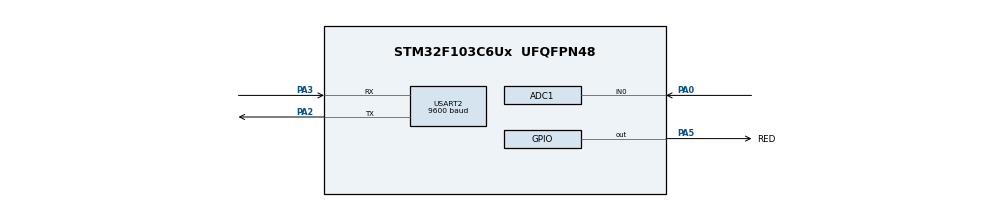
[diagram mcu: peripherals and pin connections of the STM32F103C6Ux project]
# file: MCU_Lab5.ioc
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ADC1.Channel-0\#ChannelRegularConversion=ADC_CHANNEL_0
ADC1.ContinuousConvMode=ENABLE
ADC1.NbrOfConversionFlag=1
ADC1.Rank-0\#ChannelRegularConversion=1
ADC1.SamplingTime-0\#ChannelRegularConversion=ADC_SAMPLETIME_1CYCLE_5
ADC1.master=1
Mcu.Family=STM32F1
Mcu.Name=STM32F103C6Ux
Mcu.Package=UFQFPN48
NVIC.PriorityGroup=NVIC_PRIORITYGROUP_4
NVIC.TIM2_IRQn=true\:0\:0\:false\:false\:true\:true\:true
NVIC.USART2_IRQn=true\:0\:0\:false\:false\:true\:true\:true
PA0-WKUP.Signal=ADCx_IN0
PA2.Mode=Asynchronous
PA2.Signal=USART2_TX
PA3.Mode=Asynchronous
PA3.Signal=USART2_RX
PA5.GPIO_Label=RED
PA5.Signal=GPIO_Output
ProjectManager.HeapSize=0x200
ProjectManager.StackSize=0x400
ProjectManager.TargetToolchain=STM32CubeIDE
RCC.APB1Freq_Value=8000000
RCC.APB2Freq_Value=8000000
SH.ADCx_IN0.0=ADC1_IN0,IN0
TIM2.Period=9
TIM2.Prescaler=7999
USART2.BaudRate=9600
USART2.VirtualMode=VM_ASYNC
VP_SYS_VS_ND.Mode=No_Debug
VP_TIM2_VS_ClockSourceINT.Mode=Internal
board=custom

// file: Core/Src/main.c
/* USER CODE BEGIN Header */
/**
  ******************************************************************************
  * @file           : main.c
  * @brief          : Main program body
  ******************************************************************************
  * @attention
  *
  * <h2><center>&copy; Copyright (c) 2022 STMicroelectronics.
  * All rights reserved.</center></h2>
  *
  * This software component is licensed by ST under BSD 3-Clause license,
  * the "License"; You may not use this file except in compliance with the
  * License. You may obtain a copy of the License at:
  *                        opensource.org/licenses/BSD-3-Clause
  *
  ******************************************************************************
  */
/* USER CODE END Header */
#include "main.h"

/* USER CODE BEGIN Includes */
#include "timer.h"
/* USER CODE END Includes */

ADC_HandleTypeDef hadc1;

TIM_HandleTypeDef htim2;

UART_HandleTypeDef huart2;

void SystemClock_Config(void);
static void MX_GPIO_Init(void);
static void MX_ADC1_Init(void);
static void MX_USART2_UART_Init(void);
static void MX_TIM2_Init(void);

/* USER CODE BEGIN 0 */
#define RST_COMMAND			21
#define OK_COMMAND			22
#define WAIT_MODE			23
# define MAX_BUFFER_SIZE 30

uint8_t temp = 0;
uint8_t buffer[MAX_BUFFER_SIZE];
uint8_t index_buffer = 0;
uint8_t buffer_flag = 0;
uint32_t ADC_value = 0;
int command_flag = 0;
int command_data = 0;
uint8_t RST_command[5] = "!RST#";
uint8_t OK_command[4] = "!OK#";

char str[50];
void HAL_UART_RxCpltCallback(UART_HandleTypeDef *huart){
	if(huart->Instance == USART2){
		//HAL_UART_Transmit(&huart2, &temp, 1, 50);
		buffer[index_buffer++] = temp;
		if (index_buffer == MAX_BUFFER_SIZE)
			index_buffer = 0;
		buffer_flag = 1;
		HAL_UART_Receive_IT(&huart2, &temp, 1);
	}
}

void check_command(){
	switch (command_data) {
		case 4:
			for (int i = 0; i < 4; ++i) {
				if (buffer[i] != OK_command[i])
					return;
			}
			command_flag = OK_COMMAND;
			break;
		case 5:
			for (int i = 0; i < 5; ++i) {
				if (buffer[i] != RST_command[i])
					return;
			}
			command_flag = RST_COMMAND;
			break;
		default:
			break;
	}
}

void command_parser_fsm(){
	switch (temp) {
		case 13:
			check_command();
			command_data = 0;
			index_buffer = 0;
			break;
		case 8:
			if (command_data > 0)
				command_data--;
			if (command_data < 5 && command_data >= 0)
				index_buffer = command_data;
			break;
		default:
			command_data++;
			break;
	}
}

void uart_communiation_fsm(){
	switch (command_flag) {
		case RST_COMMAND:
			HAL_ADC_Start(&hadc1);
			ADC_value =  HAL_ADC_GetValue(&hadc1);
			HAL_UART_Transmit(&huart2, (void *)str, sprintf(str, "!ADC=%ld#\r\n", ADC_value), 1000);
			setTimer0(3000);
			command_flag = WAIT_MODE;
			break;
		case OK_COMMAND:
			break;
		case WAIT_MODE:
			if (timer0_flag == 1){
				HAL_UART_Transmit(&huart2, (void *)str, sprintf(str, "!ADC=%ld#\r\n", ADC_value), 1000);
				setTimer0(3000);
			}
			break;
		default:
			break;
	}

}
/* USER CODE END 0 */

int main(void)
{

  /* MCU Configuration--------------------------------------------------------*/

  /* Reset of all peripherals, Initializes the Flash interface and the Systick. */
  HAL_Init();

  /* Configure the system clock */
  SystemClock_Config();

  /* USER CODE BEGIN SysInit */
  HAL_TIM_Base_Start_IT (& htim2 );

  /* USER CODE END SysInit */

  /* Initialize all configured peripherals */
  MX_GPIO_Init();
  MX_ADC1_Init();
  MX_USART2_UART_Init();
  MX_TIM2_Init();
  /* USER CODE BEGIN 2 */
  HAL_UART_Receive_IT(&huart2, &temp, 1);

  /* USER CODE END 2 */

  /* Infinite loop */
  /* USER CODE BEGIN WHILE */
  while (1)
  {
	  if (buffer_flag == 1){
	  		  command_parser_fsm();
	  		  buffer_flag = 0;
	  		  HAL_GPIO_TogglePin(RED_GPIO_Port, RED_Pin);
	  	  }
	  	  uart_communiation_fsm();
    /* USER CODE END WHILE */

  }
}

void SystemClock_Config(void)
{
  RCC_OscInitTypeDef RCC_OscInitStruct = {0};
  RCC_ClkInitTypeDef RCC_ClkInitStruct = {0};
  RCC_PeriphCLKInitTypeDef PeriphClkInit = {0};

  /** Initializes the RCC Oscillators according to the specified parameters
  * in the RCC_OscInitTypeDef structure.
  */
  RCC_OscInitStruct.OscillatorType = RCC_OSCILLATORTYPE_HSI;
  RCC_OscInitStruct.HSIState = RCC_HSI_ON;
  RCC_OscInitStruct.HSICalibrationValue = RCC_HSICALIBRATION_DEFAULT;
  RCC_OscInitStruct.PLL.PLLState = RCC_PLL_NONE;
  if (HAL_RCC_OscConfig(&RCC_OscInitStruct) != HAL_OK)
  {
    Error_Handler();
  }
  /** Initializes the CPU, AHB and APB buses clocks
  */
  RCC_ClkInitStruct.ClockType = RCC_CLOCKTYPE_HCLK|RCC_CLOCKTYPE_SYSCLK
                              |RCC_CLOCKTYPE_PCLK1|RCC_CLOCKTYPE_PCLK2;
  RCC_ClkInitStruct.SYSCLKSource = RCC_SYSCLKSOURCE_HSI;
  RCC_ClkInitStruct.AHBCLKDivider = RCC_SYSCLK_DIV1;
  RCC_ClkInitStruct.APB1CLKDivider = RCC_HCLK_DIV1;
  RCC_ClkInitStruct.APB2CLKDivider = RCC_HCLK_DIV1;

  if (HAL_RCC_ClockConfig(&RCC_ClkInitStruct, FLASH_LATENCY_0) != HAL_OK)
  {
    Error_Handler();
  }
  PeriphClkInit.PeriphClockSelection = RCC_PERIPHCLK_ADC;
  PeriphClkInit.AdcClockSelection = RCC_ADCPCLK2_DIV2;
  if (HAL_RCCEx_PeriphCLKConfig(&PeriphClkInit) != HAL_OK)
  {
    Error_Handler();
  }
}

static void MX_ADC1_Init(void)
{

  ADC_ChannelConfTypeDef sConfig = {0};

  /** Common config
  */
  hadc1.Instance = ADC1;
  hadc1.Init.ScanConvMode = ADC_SCAN_DISABLE;
  hadc1.Init.ContinuousConvMode = ENABLE;
  hadc1.Init.DiscontinuousConvMode = DISABLE;
  hadc1.Init.ExternalTrigConv = ADC_SOFTWARE_START;
  hadc1.Init.DataAlign = ADC_DATAALIGN_RIGHT;
  hadc1.Init.NbrOfConversion = 1;
  if (HAL_ADC_Init(&hadc1) != HAL_OK)
  {
    Error_Handler();
  }
  /** Configure Regular Channel
  */
  sConfig.Channel = ADC_CHANNEL_0;
  sConfig.Rank = ADC_REGULAR_RANK_1;
  sConfig.SamplingTime = ADC_SAMPLETIME_1CYCLE_5;
  if (HAL_ADC_ConfigChannel(&hadc1, &sConfig) != HAL_OK)
  {
    Error_Handler();
  }

}

static void MX_TIM2_Init(void)
{

  TIM_ClockConfigTypeDef sClockSourceConfig = {0};
  TIM_MasterConfigTypeDef sMasterConfig = {0};

  htim2.Instance = TIM2;
  htim2.Init.Prescaler = 7999;
  htim2.Init.CounterMode = TIM_COUNTERMODE_UP;
  htim2.Init.Period = 9;
  htim2.Init.ClockDivision = TIM_CLOCKDIVISION_DIV1;
  htim2.Init.AutoReloadPreload = TIM_AUTORELOAD_PRELOAD_DISABLE;
  if (HAL_TIM_Base_Init(&htim2) != HAL_OK)
  {
    Error_Handler();
  }
  sClockSourceConfig.ClockSource = TIM_CLOCKSOURCE_INTERNAL;
  if (HAL_TIM_ConfigClockSource(&htim2, &sClockSourceConfig) != HAL_OK)
  {
    Error_Handler();
  }
  sMasterConfig.MasterOutputTrigger = TIM_TRGO_RESET;
  sMasterConfig.MasterSlaveMode = TIM_MASTERSLAVEMODE_DISABLE;
  if (HAL_TIMEx_MasterConfigSynchronization(&htim2, &sMasterConfig) != HAL_OK)
  {
    Error_Handler();
  }

}

static void MX_USART2_UART_Init(void)
{

  huart2.Instance = USART2;
  huart2.Init.BaudRate = 9600;
  huart2.Init.WordLength = UART_WORDLENGTH_8B;
  huart2.Init.StopBits = UART_STOPBITS_1;
  huart2.Init.Parity = UART_PARITY_NONE;
  huart2.Init.Mode = UART_MODE_TX_RX;
  huart2.Init.HwFlowCtl = UART_HWCONTROL_NONE;
  huart2.Init.OverSampling = UART_OVERSAMPLING_16;
  if (HAL_UART_Init(&huart2) != HAL_OK)
  {
    Error_Handler();
  }

}

static void MX_GPIO_Init(void)
{
  GPIO_InitTypeDef GPIO_InitStruct = {0};

  /* GPIO Ports Clock Enable */
  __HAL_RCC_GPIOA_CLK_ENABLE();

  /*Configure GPIO pin Output Level */
  HAL_GPIO_WritePin(RED_GPIO_Port, RED_Pin, GPIO_PIN_RESET);

  /*Configure GPIO pin : RED_Pin */
  GPIO_InitStruct.Pin = RED_Pin;
  GPIO_InitStruct.Mode = GPIO_MODE_OUTPUT_PP;
  GPIO_InitStruct.Pull = GPIO_NOPULL;
  GPIO_InitStruct.Speed = GPIO_SPEED_FREQ_LOW;
  HAL_GPIO_Init(RED_GPIO_Port, &GPIO_InitStruct);

}

/* USER CODE BEGIN 4 */
void HAL_TIM_PeriodElapsedCallback ( TIM_HandleTypeDef * htim )
{
	timer_run();
}
/* USER CODE END 4 */

void Error_Handler(void)
{
  __disable_irq();
  while (1)
  {
  }
}

/************************ (C) COPYRIGHT STMicroelectronics *****END OF FILE****/
